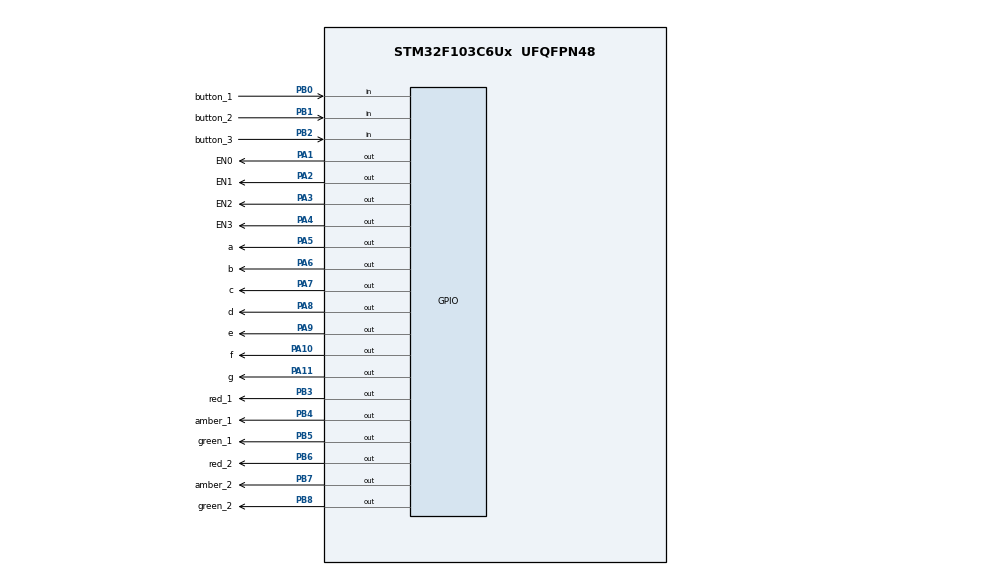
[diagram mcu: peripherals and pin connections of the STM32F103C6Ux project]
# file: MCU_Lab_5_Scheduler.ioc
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Mcu.Family=STM32F1
Mcu.Name=STM32F103C6Ux
Mcu.Package=UFQFPN48
NVIC.PriorityGroup=NVIC_PRIORITYGROUP_4
NVIC.TIM2_IRQn=true\:0\:0\:false\:false\:true\:true\:true
PA1.GPIO_Label=EN0
PA1.Signal=GPIO_Output
PA10.GPIO_Label=f
PA10.Signal=GPIO_Output
PA11.GPIO_Label=g
PA11.Signal=GPIO_Output
PA2.GPIO_Label=EN1
PA2.Signal=GPIO_Output
PA3.GPIO_Label=EN2
PA3.Signal=GPIO_Output
PA4.GPIO_Label=EN3
PA4.Signal=GPIO_Output
PA5.GPIO_Label=a
PA5.Signal=GPIO_Output
PA6.GPIO_Label=b
PA6.Signal=GPIO_Output
PA7.GPIO_Label=c
PA7.Signal=GPIO_Output
PA8.GPIO_Label=d
PA8.Signal=GPIO_Output
PA9.GPIO_Label=e
PA9.Signal=GPIO_Output
PB0.GPIO_Label=button_1
PB0.Signal=GPIO_Input
PB1.GPIO_Label=button_2
PB1.Signal=GPIO_Input
PB2.GPIO_Label=button_3
PB2.Signal=GPIO_Input
PB3.GPIO_Label=red_1
PB3.Signal=GPIO_Output
PB4.GPIO_Label=amber_1
PB4.Signal=GPIO_Output
PB5.GPIO_Label=green_1
PB5.Signal=GPIO_Output
PB6.GPIO_Label=red_2
PB6.Signal=GPIO_Output
PB7.GPIO_Label=amber_2
PB7.Signal=GPIO_Output
PB8.GPIO_Label=green_2
PB8.Signal=GPIO_Output
ProjectManager.HeapSize=0x200
ProjectManager.StackSize=0x400
ProjectManager.TargetToolchain=STM32CubeIDE
RCC.APB1Freq_Value=8000000
RCC.APB2Freq_Value=8000000
TIM2.Period=9
TIM2.Prescaler=7999
VP_SYS_VS_ND.Mode=No_Debug
VP_TIM2_VS_ClockSourceINT.Mode=Internal
board=custom

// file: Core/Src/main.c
/* USER CODE BEGIN Header */
/**
  ******************************************************************************
  * @file           : main.c
  * @brief          : Main program body
  ******************************************************************************
  * @attention
  *
  * <h2><center>&copy; Copyright (c) 2023 STMicroelectronics.
  * All rights reserved.</center></h2>
  *
  * This software component is licensed by ST under BSD 3-Clause license,
  * the "License"; You may not use this file except in compliance with the
  * License. You may obtain a copy of the License at:
  *                        opensource.org/licenses/BSD-3-Clause
  *
  ******************************************************************************
  */
/* USER CODE END Header */
#include "main.h"

/* USER CODE BEGIN Includes */
#include "global.h"
#include "timer.h"
#include "input_processing.h"
#include "input_reading.h"
#include "fsm_automatic.h"
#include "fsm_manual.h"
#include "seven_seg.h"
#include "scheduler.h"
/* USER CODE END Includes */

TIM_HandleTypeDef htim2;

void SystemClock_Config(void);
static void MX_GPIO_Init(void);
static void MX_TIM2_Init(void);

int main(void)
{

  /* MCU Configuration--------------------------------------------------------*/

  /* Reset of all peripherals, Initializes the Flash interface and the Systick. */
  HAL_Init();

  /* Configure the system clock */
  SystemClock_Config();

  /* Initialize all configured peripherals */
  MX_GPIO_Init();
  MX_TIM2_Init();
  /* USER CODE BEGIN 2 */
  HAL_TIM_Base_Start_IT(&htim2);
  /* USER CODE END 2 */

  /* Infinite loop */
  /* USER CODE BEGIN WHILE */
  SCH_Add_Task(timer_run, 0, 1);
  SCH_Add_Task(button_reading, 0, 1);
  SCH_Add_Task(fsm_automatic, 0, 1);
  SCH_Add_Task(fsm_red_manual, 0, 1);
  SCH_Add_Task(fsm_amber_manual, 0, 1);
  SCH_Add_Task(fsm_green_manual, 0, 1);
  SCH_Add_Task(led_scan, 0, 1);
  SCH_Add_Task(fsm_button_processing, 0, 1);
  setTimer2(125);
  while (1)
  {
	  SCH_Dispatch_Tasks();
    /* USER CODE END WHILE */

  }
}

void SystemClock_Config(void)
{
  RCC_OscInitTypeDef RCC_OscInitStruct = {0};
  RCC_ClkInitTypeDef RCC_ClkInitStruct = {0};

  /** Initializes the RCC Oscillators according to the specified parameters
  * in the RCC_OscInitTypeDef structure.
  */
  RCC_OscInitStruct.OscillatorType = RCC_OSCILLATORTYPE_HSI;
  RCC_OscInitStruct.HSIState = RCC_HSI_ON;
  RCC_OscInitStruct.HSICalibrationValue = RCC_HSICALIBRATION_DEFAULT;
  RCC_OscInitStruct.PLL.PLLState = RCC_PLL_NONE;
  if (HAL_RCC_OscConfig(&RCC_OscInitStruct) != HAL_OK)
  {
    Error_Handler();
  }
  /** Initializes the CPU, AHB and APB buses clocks
  */
  RCC_ClkInitStruct.ClockType = RCC_CLOCKTYPE_HCLK|RCC_CLOCKTYPE_SYSCLK
                              |RCC_CLOCKTYPE_PCLK1|RCC_CLOCKTYPE_PCLK2;
  RCC_ClkInitStruct.SYSCLKSource = RCC_SYSCLKSOURCE_HSI;
  RCC_ClkInitStruct.AHBCLKDivider = RCC_SYSCLK_DIV1;
  RCC_ClkInitStruct.APB1CLKDivider = RCC_HCLK_DIV1;
  RCC_ClkInitStruct.APB2CLKDivider = RCC_HCLK_DIV1;

  if (HAL_RCC_ClockConfig(&RCC_ClkInitStruct, FLASH_LATENCY_0) != HAL_OK)
  {
    Error_Handler();
  }
}

static void MX_TIM2_Init(void)
{

  TIM_ClockConfigTypeDef sClockSourceConfig = {0};
  TIM_MasterConfigTypeDef sMasterConfig = {0};

  htim2.Instance = TIM2;
  htim2.Init.Prescaler = 7999;
  htim2.Init.CounterMode = TIM_COUNTERMODE_UP;
  htim2.Init.Period = 9;
  htim2.Init.ClockDivision = TIM_CLOCKDIVISION_DIV1;
  htim2.Init.AutoReloadPreload = TIM_AUTORELOAD_PRELOAD_DISABLE;
  if (HAL_TIM_Base_Init(&htim2) != HAL_OK)
  {
    Error_Handler();
  }
  sClockSourceConfig.ClockSource = TIM_CLOCKSOURCE_INTERNAL;
  if (HAL_TIM_ConfigClockSource(&htim2, &sClockSourceConfig) != HAL_OK)
  {
    Error_Handler();
  }
  sMasterConfig.MasterOutputTrigger = TIM_TRGO_RESET;
  sMasterConfig.MasterSlaveMode = TIM_MASTERSLAVEMODE_DISABLE;
  if (HAL_TIMEx_MasterConfigSynchronization(&htim2, &sMasterConfig) != HAL_OK)
  {
    Error_Handler();
  }

}

static void MX_GPIO_Init(void)
{
  GPIO_InitTypeDef GPIO_InitStruct = {0};

  /* GPIO Ports Clock Enable */
  __HAL_RCC_GPIOA_CLK_ENABLE();
  __HAL_RCC_GPIOB_CLK_ENABLE();

  /*Configure GPIO pin Output Level */
  HAL_GPIO_WritePin(GPIOA, EN0_Pin|EN1_Pin|EN2_Pin|EN3_Pin
                          |a_Pin|b_Pin|c_Pin|d_Pin
                          |e_Pin|f_Pin|g_Pin, GPIO_PIN_RESET);

  /*Configure GPIO pin Output Level */
  HAL_GPIO_WritePin(GPIOB, red_1_Pin|amber_1_Pin|green_1_Pin|red_2_Pin
                          |amber_2_Pin|green_2_Pin, GPIO_PIN_RESET);

  /*Configure GPIO pins : EN0_Pin EN1_Pin EN2_Pin EN3_Pin
                           a_Pin b_Pin c_Pin d_Pin
                           e_Pin f_Pin g_Pin */
  GPIO_InitStruct.Pin = EN0_Pin|EN1_Pin|EN2_Pin|EN3_Pin
                          |a_Pin|b_Pin|c_Pin|d_Pin
                          |e_Pin|f_Pin|g_Pin;
  GPIO_InitStruct.Mode = GPIO_MODE_OUTPUT_PP;
  GPIO_InitStruct.Pull = GPIO_NOPULL;
  GPIO_InitStruct.Speed = GPIO_SPEED_FREQ_LOW;
  HAL_GPIO_Init(GPIOA, &GPIO_InitStruct);

  /*Configure GPIO pins : button_1_Pin button_2_Pin button_3_Pin */
  GPIO_InitStruct.Pin = button_1_Pin|button_2_Pin|button_3_Pin;
  GPIO_InitStruct.Mode = GPIO_MODE_INPUT;
  GPIO_InitStruct.Pull = GPIO_NOPULL;
  HAL_GPIO_Init(GPIOB, &GPIO_InitStruct);

  /*Configure GPIO pins : red_1_Pin amber_1_Pin green_1_Pin red_2_Pin
                           amber_2_Pin green_2_Pin */
  GPIO_InitStruct.Pin = red_1_Pin|amber_1_Pin|green_1_Pin|red_2_Pin
                          |amber_2_Pin|green_2_Pin;
  GPIO_InitStruct.Mode = GPIO_MODE_OUTPUT_PP;
  GPIO_InitStruct.Pull = GPIO_NOPULL;
  GPIO_InitStruct.Speed = GPIO_SPEED_FREQ_LOW;
  HAL_GPIO_Init(GPIOB, &GPIO_InitStruct);

}

/* USER CODE BEGIN 4 */
void HAL_TIM_PeriodElapsedCallback(TIM_HandleTypeDef *htim2) {
	SCH_Update();
}
/* USER CODE END 4 */

void Error_Handler(void)
{
  __disable_irq();
  while (1)
  {
  }
}

/************************ (C) COPYRIGHT STMicroelectronics *****END OF FILE****/
